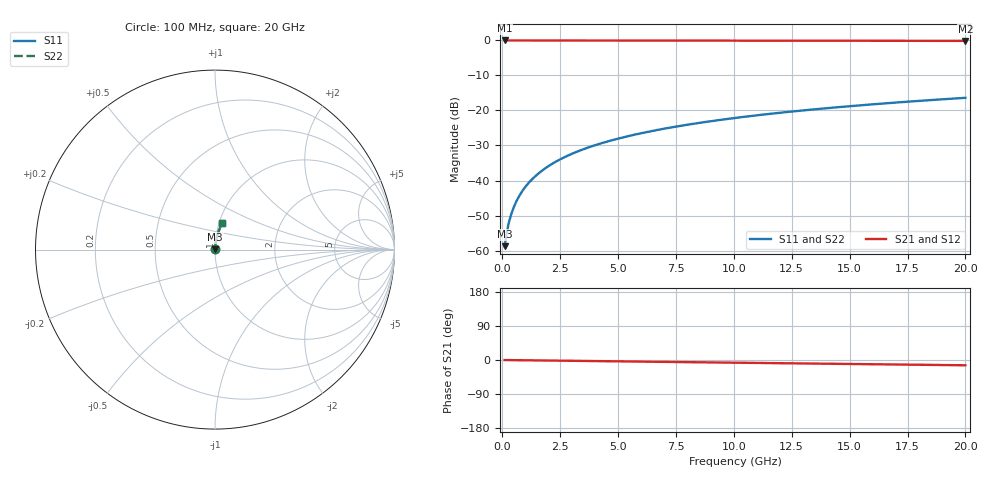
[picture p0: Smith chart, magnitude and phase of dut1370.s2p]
! Touchstone file exported from HFSS 2026.1.0
!  File:  C:/ffzhzh/LocalFiles/Ansys_Project_Files/temp_train_TMRDL_1370_1783165852_18472.aedt
!  Generated:  07:52:03 PM Jul  4, 2026
!  Design:  TMRDL
!  Project:  temp_train_TMRDL_1370_1783165852_18472
! Variables:
!  h_bsmrdl = 2um
!  h_ox = 20um
!  h_rdl = 5um
!  h_sub = 80um
!  h_tmrdl = 4.64um
!  h_tsv = 80um
!  h_via = 3um
!  l_bsmrdl = 300um
!  l_sub = 558.59um
!  l_tmrdl = 158.59um
!  m_sub = 200um
!  pitch = 49.35um
!  r_tsv = 6um
!  s_tmrdl = 10um
!  w_bsmrdl = 18um
!  w_sub = 500um
!  w_tmrdl = 19.49um
!  x_tsv_center1 = 168.335um
!  x_tsv_center2 = 486.335um
!  x_tsv_center3 = 664.415um
!  x_tsv_center4 = 982.415um
!  x_tsv_center5 = 1160.495um
!  x_tsv_center6 = 1478.495um
# GHz S MA R 50.000000
! Terminal data exported
! Port[1] = TM_RDL1_1_T1
! Port[2] = TM_RDL1_1_T2
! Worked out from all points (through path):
!   200 points, 100 MHz to 20 GHz, reference 50 ohm
!   highest |S21| = -0.01 dB at 100 MHz (marker M1); lowest = -0.1 dB at 20 GHz (marker M2)
!   group delay of S21, straight-line fit = 1.93 ps
!   lowest |S11| = -58.7 dB at 100 MHz (marker M3), VSWR 1.00, Z = 50.1 + j0.0856 ohm
!   |S11| at or under -10 dB: start of sweep to end of sweep
!   |S22| runs from -58.7 to -16.4 dB; largest |S21 - S12| = 4.1e-15
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0.1  0.001155 47.7  0.9992 -0.1  0.9992 -0.1  0.001155 47.7
! Gamma 0 0 0 0
! Port Impedance 50 0 50 0
0.2  0.001871 64.1  0.9992 -0.1  0.9992 -0.1  0.001871 64.1
0.3  0.002635 71.0  0.9991 -0.2  0.9991 -0.2  0.002635 71.0
0.4  0.003409 74.9  0.9991 -0.3  0.9991 -0.3  0.003409 74.9
0.5  0.004189 77.3  0.9991 -0.4  0.9991 -0.4  0.004189 77.3
0.7  0.005762 80.3  0.9991 -0.5  0.9991 -0.5  0.005762 80.3
0.8  0.006554 81.2  0.999 -0.6  0.999 -0.6  0.006554 81.2
1  0.008141 82.5  0.999 -0.7  0.999 -0.7  0.008141 82.5
1.2  0.009733 83.4  0.999 -0.9  0.999 -0.9  0.009733 83.4
1.4  0.01133 83.9  0.9989 -1.0  0.9989 -1.0  0.01133 83.9
1.7  0.01372 84.4  0.9989 -1.2  0.9989 -1.2  0.01372 84.4
2  0.0161 84.6  0.9988 -1.4  0.9988 -1.4  0.0161 84.6
2.7  0.02165 84.8  0.9985 -1.9  0.9985 -1.9  0.02165 84.8
3.5  0.02795 84.6  0.9982 -2.5  0.9982 -2.5  0.02795 84.6
4.2  0.03343 84.3  0.9979 -3.0  0.9979 -3.0  0.03343 84.3
5  0.03965 83.9  0.9975 -3.6  0.9975 -3.6  0.03965 83.9
6.8  0.0535 82.9  0.9964 -4.8  0.9964 -4.8  0.0535 82.9
8.3  0.06494 82.0  0.9955 -5.9  0.9955 -5.9  0.06494 82.0
10.1  0.07856 80.9  0.9942 -7.1  0.9942 -7.1  0.07856 80.9
13.4  0.1033 78.9  0.9915 -9.4  0.9915 -9.4  0.1033 78.9
16.7  0.1276 76.8  0.9883 -11.7  0.9883 -11.7  0.1276 76.8
20  0.1516 74.6  0.9846 -13.9  0.9846 -13.9  0.1516 74.6
